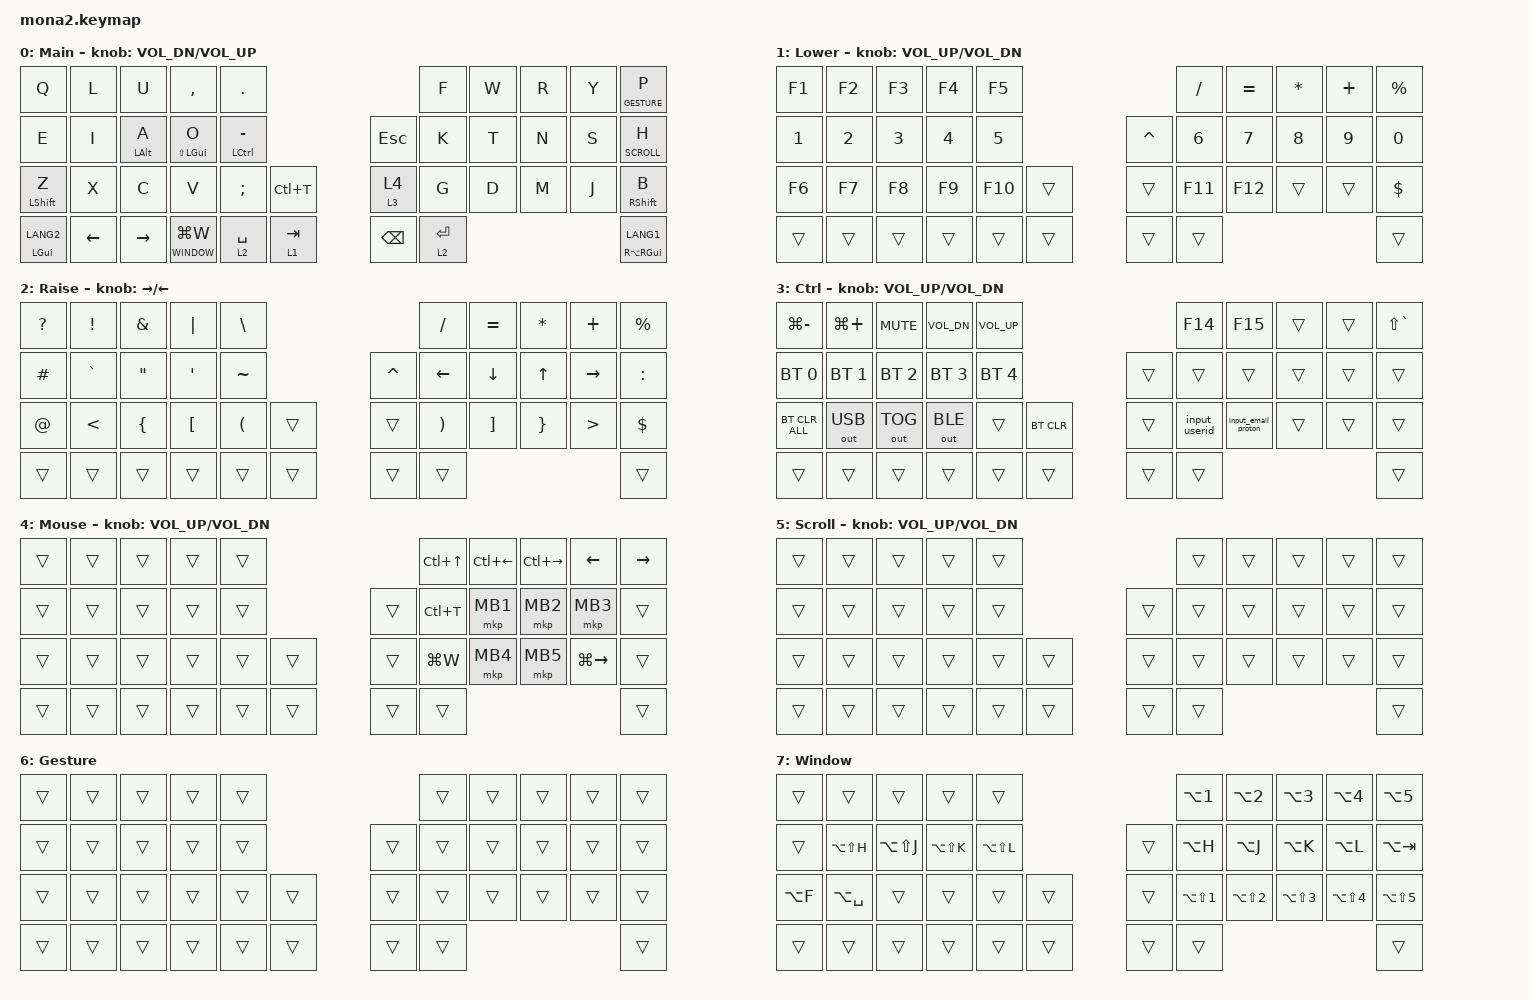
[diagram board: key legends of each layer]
#include <behaviors.dtsi>
#include <dt-bindings/zmk/bt.h>
#include <dt-bindings/zmk/keys.h>
#include <dt-bindings/zmk/outputs.h>
#include <dt-bindings/zmk/pointing.h>
#include "gesture/tab_gesture.dtsi"

#define MAIN 0
#define LOWER 1
#define RAISE 2
#define CONTROL 3
#define MOUSE 4
#define SCROLL 5
#define GESTURE 6
#define WINDOW 7

&lt {
    tapping-term-ms = <200>;
    hold-trigger-on-release;
};

/ {
    behaviors {
        HRM_L: homerow_mods_left {
            compatible = "zmk,behavior-hold-tap";
            #binding-cells = <2>;
            flavor = "balanced";
            tapping-term-ms = <400>;
            quick-tap-ms = <200>;
            require-prior-idle-ms = <250>;
            hold-trigger-key-positions = <5 6 7 8 9 15 16 17 18 19 20 26 27 28 29 30 31 32 33 34 35 36 37 38 39 40 41>;
            hold-trigger-on-release;
            bindings = <&kp>, <&kp>;

            display-name = "HRM";
        };

        HRM_R: homerow_mods_right {
            compatible = "zmk,behavior-hold-tap";
            #binding-cells = <2>;
            flavor = "balanced";
            tapping-term-ms = <400>;
            quick-tap-ms = <200>;
            require-prior-idle-ms = <250>;
            hold-trigger-key-positions = <0 1 2 3 4 10 11 12 13 14 15 21 22 23 24 25 26 27 33 34 35 36 37 38 39 40 41>;
            hold-trigger-on-release;
            bindings = <&kp>, <&kp>;

            display-name = "HRM";
        };

        lt_kp: lt_kp {
            compatible = "zmk,behavior-hold-tap";
            #binding-cells = <2>;
            flavor = "balanced";
            tapping-term-ms = <200>;
            bindings = <&mo>, <&kp>;

            display-name = "LT";
        };

        SandS: SandS {
            compatible = "zmk,behavior-hold-tap";
            #binding-cells = <2>;
            flavor = "balanced";
            tapping-term-ms = <200>;
            bindings = <&kp>, <&kp>;

            display-name = "SandS";
        };

        lt_to: lt_to {
            compatible = "zmk,behavior-hold-tap";
            #binding-cells = <2>;
            flavor = "balanced";
            tapping-term-ms = <200>;
            bindings = <&mo>, <&to>;

            display-name = "LT_TO";
        };

        sands_lang: sands_lang {
            compatible = "zmk,behavior-hold-tap";
            #binding-cells = <2>;
            flavor = "balanced";
            tapping-term-ms = <200>;
            bindings = <&kp>, <&to_layer_0>;

            display-name = "SandSLang";
        };
    };

    macros {
        to_layer_0: to_layer_0 {
            compatible = "zmk,behavior-macro-one-param";
            #binding-cells = <1>;
            bindings = <&to MAIN &macro_param_1to1 &kp MACRO_PLACEHOLDER>;
        };

        input_userid: input_userid {
            compatible = "zmk,behavior-macro";
            #binding-cells = <0>;
            bindings = <&kp R &kp N1 &kp C &kp LS(A) &kp N1 &kp N8>;
        };

        input_email_proton: input_email_proton {
            compatible = "zmk,behavior-macro";
            #binding-cells = <0>;
            bindings = <&kp R &kp N1 &kp C &kp LS(A) &kp N1 &kp N8 &kp AT &kp P &kp R &kp O &kp T &kp O &kp N &kp DOT &kp M &kp E>;
        };

        bt_mac: bt_mac {
            compatible = "zmk,behavior-macro";
            #binding-cells = <0>;
            bindings = <&bt BT_SEL 0 &to MAIN>;
        };
    };

    keymap {
        compatible = "zmk,keymap";

        main_layer {
            display-name = "Main";
            sensor-bindings = <&inc_dec_kp C_VOL_DN C_VOL_UP>;
            bindings = <
&kp Q                       &kp L     &kp U              &kp COMMA              &kp DOT                                              &kp F        &kp W  &kp R  &kp Y  &lt GESTURE P
&kp E                       &kp I     &HRM_L LEFT_ALT A  &HRM_L LS(LEFT_GUI) O  &HRM_L LEFT_CONTROL MINUS             &kp ESC        &kp K        &kp T  &kp N  &kp S  &lt SCROLL H
&HRM_L LEFT_SHIFT Z         &kp X     &kp C              &kp V                  &kp SEMI                 &kp LC(T)    &lt_to 3 4     &kp G        &kp D  &kp M  &kp J  &HRM_R RIGHT_SHIFT B
&sands_lang LEFT_GUI LANG2  &kp LEFT  &kp RIGHT          &lt_kp WINDOW LG(W)    &lt 2 SPACE              &lt 1 TAB    &kp BACKSPACE  &lt 2 ENTER                       &sands_lang RA(RIGHT_GUI) LANG1
            >;
        };

        lower_layer {
            display-name = "Lower";
            sensor-bindings = <&inc_dec_kp C_VOL_UP C_VOL_DN>;
            bindings = <
&kp F1  &kp F2  &kp F3  &kp F4  &kp F5                        &kp FSLH  &kp EQUAL  &kp STAR  &kp PLUS  &kp PRCNT
&kp N1  &kp N2  &kp N3  &kp N4  &kp N5             &kp CARET  &kp N6    &kp N7     &kp N8    &kp N9    &kp N0
&kp F6  &kp F7  &kp F8  &kp F9  &kp F10  &trans    &trans     &kp F11   &kp F12    &trans    &trans    &kp DLLR
&trans  &trans  &trans  &trans  &trans   &trans    &trans     &trans                                   &trans
            >;
        };

        raise_layer {
            display-name = "Raise";
            sensor-bindings = <&inc_dec_kp RIGHT LEFT>;
            bindings = <
&kp QMARK  &kp EXCL   &kp AMPS  &kp PIPE  &kp BSLH                        &kp FSLH  &kp EQUAL  &kp STAR  &kp PLUS   &kp PRCNT
&kp POUND  &kp GRAVE  &kp DQT   &kp SQT   &kp TILDE            &kp CARET  &kp LEFT  &kp DOWN   &kp UP    &kp RIGHT  &kp COLON
&kp AT     &kp LT     &kp LBRC  &kp LBKT  &kp LPAR   &trans    &trans     &kp RPAR  &kp RBKT   &kp RBRC  &kp GT     &kp DLLR
&trans     &trans     &trans    &trans    &trans     &trans    &trans     &trans                                    &trans
            >;
        };

        control_layer {
            display-name = "Ctrl";
            sensor-bindings = <&inc_dec_kp C_VOL_UP C_VOL_DN>;
            bindings = <
&kp LG(MINUS)   &kp LG(PLUS)  &kp C_MUTE    &kp C_VOL_DN  &kp C_VOL_UP                        &kp F14        &kp F15              &trans  &trans  &kp LS(GRAVE)
&bt BT_SEL 0    &bt BT_SEL 1  &bt BT_SEL 2  &bt BT_SEL 3  &bt BT_SEL 4                &trans  &trans         &trans               &trans  &trans  &trans
&bt BT_CLR_ALL  &out OUT_USB  &out OUT_TOG  &out OUT_BLE  &trans        &bt BT_CLR    &trans  &input_userid  &input_email_proton  &trans  &trans  &trans
&trans          &trans        &trans        &trans        &trans        &trans        &trans  &trans                                              &trans
            >;
        };

        mouse_layer {
            display-name = "Mouse";
            sensor-bindings = <&inc_dec_kp C_VOL_UP C_VOL_DN>;
            bindings = <
&trans  &trans  &trans  &trans  &trans                    &kp LC(UP)  &kp LC(LEFT)  &kp LC(RIGHT)  &kp LEFT       &kp RIGHT
&trans  &trans  &trans  &trans  &trans            &trans  &kp LC(T)   &mkp MB1      &mkp MB2       &mkp MB3       &trans
&trans  &trans  &trans  &trans  &trans  &trans    &trans  &kp LG(W)   &mkp MB4      &mkp MB5       &kp LG(RIGHT)  &trans
&trans  &trans  &trans  &trans  &trans  &trans    &trans  &trans                                                  &trans
            >;
        };

        scroll_layer {
            display-name = "Scroll";
            sensor-bindings = <&inc_dec_kp C_VOL_UP C_VOL_DN>;
            bindings = <
&trans  &trans  &trans  &trans  &trans                    &trans  &trans  &trans  &trans  &trans
&trans  &trans  &trans  &trans  &trans            &trans  &trans  &trans  &trans  &trans  &trans
&trans  &trans  &trans  &trans  &trans  &trans    &trans  &trans  &trans  &trans  &trans  &trans
&trans  &trans  &trans  &trans  &trans  &trans    &trans  &trans                          &trans
            >;
        };

        gesture_layer {
            display-name = "Gesture";
            bindings = <
&trans  &trans  &trans  &trans  &trans                    &trans  &trans  &trans  &trans  &trans
&trans  &trans  &trans  &trans  &trans            &trans  &trans  &trans  &trans  &trans  &trans
&trans  &trans  &trans  &trans  &trans  &trans    &trans  &trans  &trans  &trans  &trans  &trans
&trans  &trans  &trans  &trans  &trans  &trans    &trans  &trans                          &trans
            >;
        };

        window_layer {
            display-name = "Window";
            bindings = <
&trans      &trans          &trans          &trans          &trans                              &kp LA(N1)      &kp LA(N2)      &kp LA(N3)      &kp LA(N4)      &kp LA(N5)
&trans      &kp LA(LS(H))   &kp LA(LS(J))   &kp LA(LS(K))   &kp LA(LS(L))               &trans  &kp LA(H)       &kp LA(J)       &kp LA(K)       &kp LA(L)       &kp LA(TAB)
&kp LA(F)   &kp LA(SPACE)   &trans          &trans          &trans          &trans      &trans  &kp LA(LS(N1))  &kp LA(LS(N2))  &kp LA(LS(N3))  &kp LA(LS(N4))  &kp LA(LS(N5))
&trans      &trans          &trans          &trans          &trans          &trans      &trans  &trans                                                          &trans
            >;
        };
    };
};
